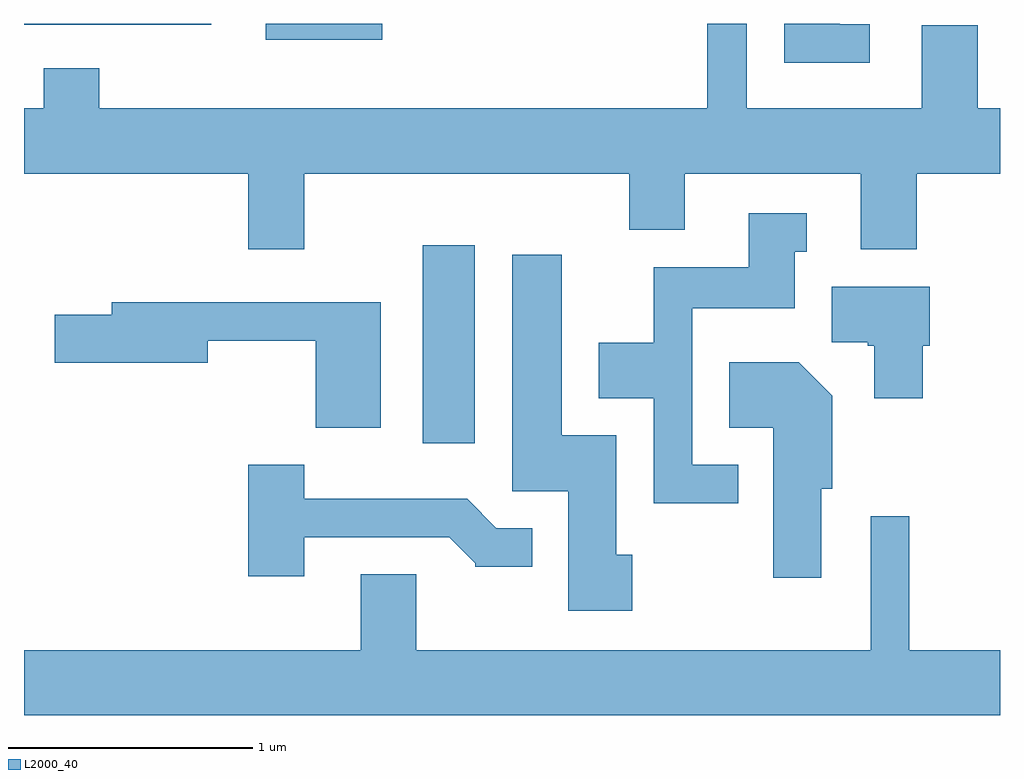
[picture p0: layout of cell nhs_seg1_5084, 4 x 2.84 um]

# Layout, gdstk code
import gdstk
lib = gdstk.Library(unit=1e-6, precision=1e-09)
def R(c, l, rs):  # rectangles x0, y0, x1, y1
    for r in rs: c.add(gdstk.rectangle(r[:2], r[2:], *l))
def P(c, l, *ps):  # polygons
    for p in ps: c.add(gdstk.Polygon(p, *l))
L2000_40 = (2000, 40)

nhs_seg1_5084 = lib.new_cell('nhs_seg1_5084')
R(nhs_seg1_5084, L2000_40, [(339.246,933.991,339.459,934.804), (338.601,935.646,339.079,935.712), (337.611,935.706,338.378,935.712)])
P(nhs_seg1_5084, L2000_40, [(338.759,935.096),(340.091,935.096),(340.091,934.866),(340.319,934.866),(340.319,935.096),(341.041,935.096),(341.041,934.786),(341.269,934.786),(341.269,935.096),(341.611,935.096),(341.611,935.364),(341.519,935.364),(341.519,935.704),(341.291,935.704),(341.291,935.364),(340.574,935.364),(340.574,935.712),(340.411,935.712),(340.411,935.364),(337.919,935.364),(337.919,935.529),(337.691,935.529),(337.691,935.364),(337.611,935.364),(337.611,935.096),(338.531,935.096),(338.531,934.786),(338.759,934.786)],
  [(341.078,935.709),(340.954,935.709),(340.954,935.712),(340.726,935.712),(340.726,935.551),(341.078,935.551)],
  [(340.538,933.904),(340.349,933.904),(340.349,934.546),(340.769,934.546),(340.769,934.776),(340.818,934.776),(340.818,934.934),(340.581,934.934),(340.581,934.714),(340.191,934.714),(340.191,934.404),(339.966,934.404),(339.966,934.176),(340.191,934.176),(340.191,933.746),(340.538,933.746)],
  [(340.104,933.534),(340.039,933.534),(340.039,934.024),(339.814,934.024),(339.814,934.764),(339.611,934.764),(339.611,933.796),(339.841,933.796),(339.841,933.306),(340.104,933.306)],
  [(341.294,934.391),(341.324,934.391),(341.324,934.634),(340.921,934.634),(340.921,934.406),(341.07,934.406),(341.07,934.391),(341.096,934.391),(341.096,934.176),(341.294,934.176)],
  [(339.074,934.569),(337.971,934.569),(337.971,934.519),(337.736,934.519),(337.736,934.321),(338.364,934.321),(338.364,934.411),(338.806,934.411),(338.806,934.056),(339.074,934.056)],
  [(340.879,933.806),(340.924,933.806),(340.924,934.187),(340.787,934.324),(340.501,934.324),(340.501,934.056),(340.681,934.056),(340.681,933.441),(340.879,933.441)],
  [(338.759,933.606),(339.354,933.606),(339.46,933.5),(339.46,933.486),(339.693,933.486),(339.693,933.644),(339.547,933.644),(339.427,933.764),(338.759,933.764),(338.759,933.904),(338.531,933.904),(338.531,933.446),(338.759,933.446)],
  [(341.611,933.144),(341.239,933.144),(341.239,933.693),(341.081,933.693),(341.081,933.144),(339.219,933.144),(339.219,933.454),(338.991,933.454),(338.991,933.144),(337.611,933.144),(337.611,932.876),(341.611,932.876)])

lib.write_gds('nhs_seg1_5084.gds')
